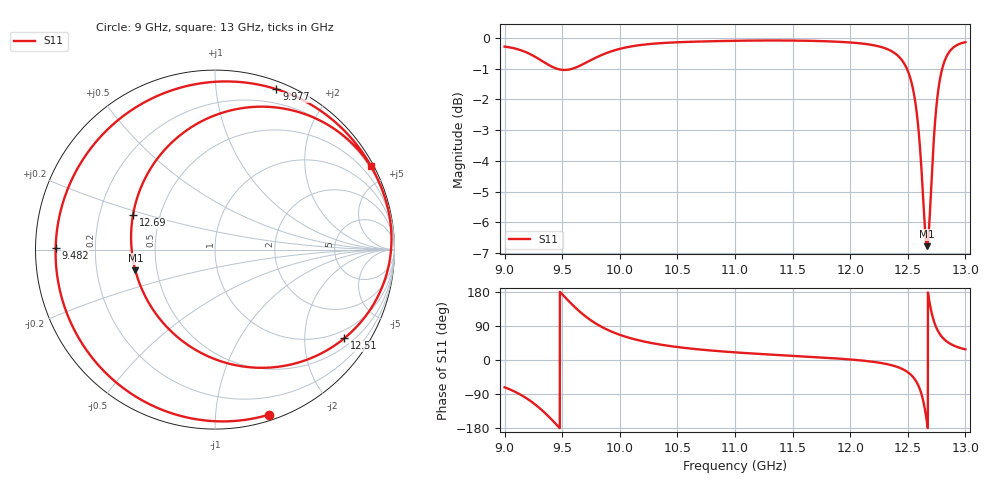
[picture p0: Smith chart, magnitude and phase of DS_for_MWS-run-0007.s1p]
! TOUCHSTONE file generated by CST DESIGN STUDIO
! Date and time: Tue Feb  4 17:33:44 2025
! Project name: C:\Work\MatlabApps\UnitCellOptimizationMatlab\CST\unitcell.cst
! Tree item: Tasks\Sweep1\SPara1\S-Parameters
! Header version: 2024
! Port assignment regex: !\s*Touchstone port\s*([0-9]+)\s*=\s*(CST MWS port|CST DES external port|CST DES block port)\s*(.+)\s* \(\"(.*)\"\)(\s*mode\s*([0-9]+))?.*
! Touchstone port assignment:
! Touchstone port 1 = CST DES external port 1 ("")
# GHz S MA R 50
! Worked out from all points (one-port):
!   4001 points, 9 GHz to 13 GHz, reference 50 ohm
!   lowest |S11| = -6.8 dB at 12.67 GHz (marker M1), VSWR 2.69, Z = 18.8 - j5.47 ohm
!   |S11| at or under -10 dB: nowhere
!   S11 on the Smith chart (normalised r, x): 9 GHz: 0.05, -1.38; 9.482 GHz: 0.06, +0.01; 9.977 GHz: 0.07, +1.45; 12.51 GHz: 0.73, -3.06; 12.69 GHz: 0.35, +0.18; 13 GHz: 0.14, +3.99
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9  0.9675 -72.0
9.151  0.9532 -93.7
9.262  0.9321 -116.6
9.388  0.9023 -150.9
9.482  0.888 179.3
9.5  0.887 173.4
9.609  0.8935 139.7
9.709  0.9118 113.6
9.823  0.9343 90.7
9.977  0.957 69.0
10  0.9596 66.5
10.215  0.9751 48.5
10.5  0.9834 34.2
11  0.9889 20.2
11.5  0.9898 11.0
12  0.9827 1.4
12.346  0.9541 -12.7
12.5  0.8836 -32.2
12.51  0.8735 -34.5
12.563  0.7909 -51.8
12.609  0.6512 -80.5
12.638  0.5293 -113.5
12.667  0.4585 -165.5
12.686  0.4957 157.2
12.723  0.6706 106.0
12.763  0.8181 76.0
12.853  0.9444 45.7
13  0.9839 28.1
